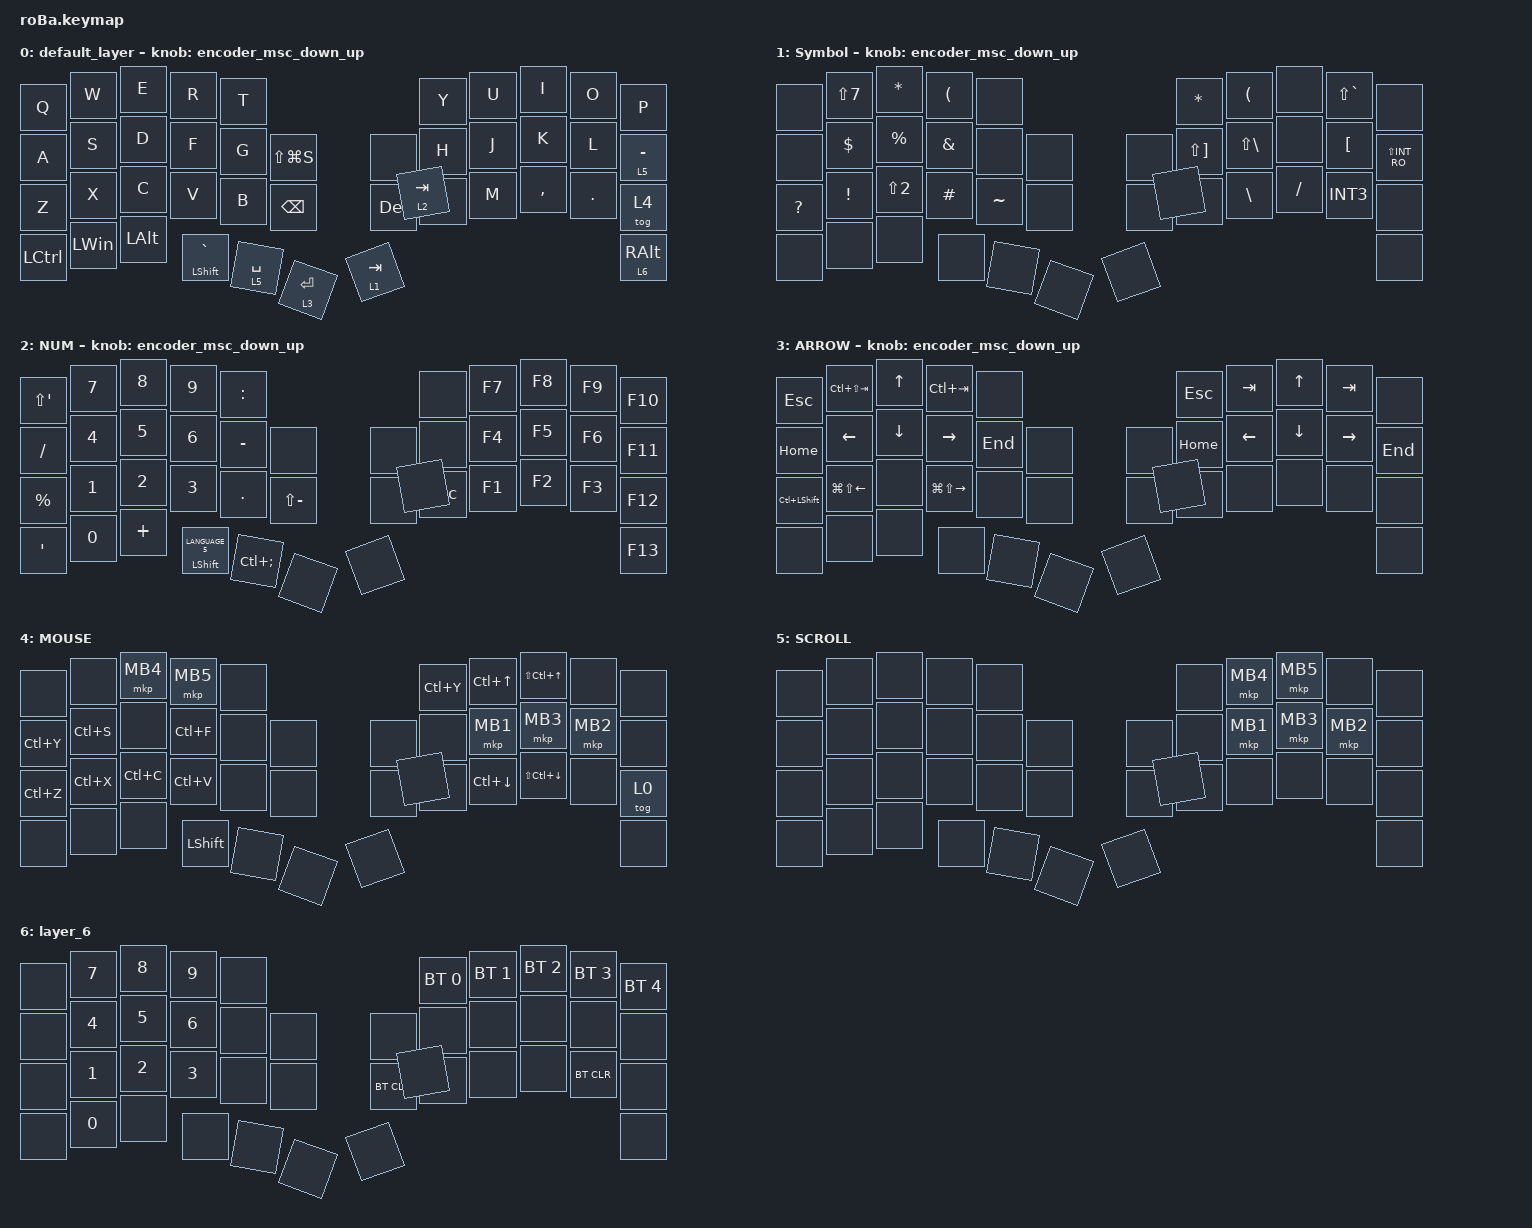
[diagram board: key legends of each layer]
#include <input/processors.dtsi>
#include <behaviors.dtsi>
#include <dt-bindings/zmk/bt.h>
#include <dt-bindings/zmk/keys.h>
#include <dt-bindings/zmk/pointing.h>

#define ZMK_POINTING_DEFAULT_SCRL_VAL 80

&mkp_input_listener { input-processors = <&zip_temp_layer 4 1000>; };

&mt {
    flavor = "balanced";
    quick-tap-ms = <0>;
};

&trackball {
    automouse-layer = <4>;
    scroll-layers = <5>;

    // arrows {
    //     layers = <3>;
    //     bindings =
    //         <&kp RIGHT_ARROW>,
    //         <&kp LEFT_ARROW>,
    //         <&kp UP_ARROW>,
    //         <&kp DOWN_ARROW>;
    //     tick = <10>;
    //     wait-ms = <5>;
    //     tap-ms = <5>;
    // };
};

/ {
    combos {
        compatible = "zmk,combos";

        tab {
            bindings = <&kp TAB>;
            key-positions = <11 12>;
        };

        shift_tab {
            bindings = <&kp LS(TAB)>;
            key-positions = <12 13>;
        };

        muhennkann {
            bindings = <&to_layer_0 INT_MUHENKAN>;
            key-positions = <11 10>;
        };

        double_quotation {
            bindings = <&kp DOUBLE_QUOTES>;
            key-positions = <20 21>;
        };

        eq {
            bindings = <&kp EQUAL>;
            key-positions = <24 25>;
        };
    };

    macros {
        to_layer_0: to_layer_0 {
            compatible = "zmk,behavior-macro-one-param";
            #binding-cells = <1>;
            bindings = <&to 0 &macro_param_1to1 &kp MACRO_PLACEHOLDER>;
            label = "TO_LAYER_0";
        };
    };

    behaviors {
        lt_to_layer_0: lt_to_layer_0 {
            compatible = "zmk,behavior-hold-tap";
            label = "LAYER_TAP_TO_0";
            bindings = <&mo>, <&to_layer_0>;

            #binding-cells = <2>;
            tapping-term-ms = <200>;
        };

        encoder_msc_down_up: encoder_msc_down_up {
            compatible = "zmk,behavior-sensor-rotate";
            label = "ENCODER_MSC_DOWN_UP";
            #sensor-binding-cells = <0>;
            bindings = <&msc SCRL_DOWN>, <&msc SCRL_UP>;

            tap-ms = <20>;
        };
    };

    keymap {
        compatible = "zmk,keymap";

        default_layer {
            bindings = <
&kp Q      &kp W         &kp E         &kp R                 &kp T                                       &kp Y      &kp U  &kp I      &kp O    &kp P
&kp A      &kp S         &kp D         &kp F                 &kp G        &kp LS(LG(S))      &none       &kp H      &kp J  &kp K      &kp L    &lt 5 MINUS
&kp Z      &kp X         &kp C         &kp V                 &kp B        &kp BACKSPACE      &kp DELETE  &kp N      &kp M  &kp COMMA  &kp DOT  &tog 4
&kp LCTRL  &kp LEFT_WIN  &kp LEFT_ALT  &mt LEFT_SHIFT GRAVE  &lt 5 SPACE  &lt 3 ENTER        &lt 1 TAB   &lt 2 TAB                             &lt 6 RIGHT_ALT
            >;

            sensor-bindings = <&encoder_msc_down_up>;
            sensor-bindings = <&encoder_msc_down_up>;
        };

        Symbol {
            bindings = <
&none         &kp LS(N7)       &kp ASTERISK      &kp LEFT_PARENTHESIS  &none                        &kp ASTERISK           &kp LEFT_PARENTHESIS  &none      &kp LS(GRAVE)     &none
&none         &kp DOLLAR       &kp PERCENT       &kp AMPS              &none      &none      &none  &kp LS(RIGHT_BRACKET)  &kp LS(BACKSLASH)     &none      &kp LEFT_BRACKET  &kp LS(INT_RO)
&kp QUESTION  &kp EXCLAMATION  &kp LS(NUMBER_2)  &kp HASH              &kp TILDE  &none      &none  &kp RIGHT_BRACKET      &kp BACKSLASH         &kp SLASH  &kp INT3          &none
&none         &none            &none             &none                 &none      &none      &none  &none                                                                     &none
            >;

            sensor-bindings = <&encoder_msc_down_up>;
            sensor-bindings = <&encoder_msc_down_up>;
        };

        NUM {
            bindings = <
&kp LS(APOSTROPHE)  &kp N7        &kp N8        &kp N9                     &kp COLON                                    &none       &kp F7  &kp F8  &kp F9  &kp F10
&kp SLASH           &kp NUMBER_4  &kp N5        &kp NUMBER_6               &kp MINUS          &none              &none  &none       &kp F4  &kp F5  &kp F6  &kp F11
&kp PERCENT         &kp NUMBER_1  &kp NUMBER_2  &kp NUMBER_3               &kp PERIOD         &kp LS(MINUS)      &none  &kp ESCAPE  &kp F1  &kp F2  &kp F3  &kp F12
&kp APOSTROPHE      &kp N0        &kp PLUS      &mt LEFT_SHIFT LANGUAGE_5  &kp LC(SEMICOLON)  &none              &none  &none                               &kp F13
            >;

            sensor-bindings = <&encoder_msc_down_up>;
            sensor-bindings = <&encoder_msc_down_up>;
        };

        ARROW {
            bindings = <
&kp ESCAPE          &kp LC(LS(TAB))         &kp UP_ARROW    &kp LC(TAB)              &none                      &kp ESCAPE  &kp TAB         &kp UP_ARROW    &kp TAB          &none
&kp HOME            &kp LEFT_ARROW          &kp DOWN_ARROW  &kp RIGHT_ARROW          &kp END  &none      &none  &kp HOME    &kp LEFT_ARROW  &kp DOWN_ARROW  &kp RIGHT_ARROW  &kp END
&kp LC(LEFT_SHIFT)  &kp LG(LS(LEFT_ARROW))  &none           &kp LG(LS(RIGHT_ARROW))  &none    &none      &none  &none       &none           &none           &none            &none
&none               &none                   &none           &none                    &none    &none      &none  &none                                                        &none
            >;

            sensor-bindings = <&encoder_msc_down_up>;
            sensor-bindings = <&encoder_msc_down_up>;
        };

        MOUSE {
            bindings = <
&none      &none      &mkp MB4   &mkp MB5        &none                    &kp LC(Y)  &kp LC(UP_ARROW)  &kp LS(LC(UP_ARROW))  &none     &none
&kp LC(Y)  &kp LC(S)  &none      &kp LC(F)       &none  &none      &none  &none      &mkp MB1          &mkp MB3              &mkp MB2  &none
&kp LC(Z)  &kp LC(X)  &kp LC(C)  &kp LC(V)       &none  &none      &none  &none      &kp LC(DOWN)      &kp LS(LC(DOWN))      &none     &tog 0
&none      &none      &none      &kp LEFT_SHIFT  &none  &none      &none  &none                                                        &none
            >;
        };

        SCROLL {
            bindings = <
&none  &none  &none  &none  &none                    &none  &mkp MB4  &mkp MB5  &none     &none
&none  &none  &none  &none  &none  &none      &none  &none  &mkp MB1  &mkp MB3  &mkp MB2  &none
&none  &none  &none  &none  &none  &none      &none  &none  &none     &none     &none     &none
&none  &none  &none  &none  &none  &none      &none  &none                                &none
            >;
        };

        layer_6 {
            bindings = <
&none  &kp N7        &kp N8        &kp N9        &none                         &bt BT_SEL 0  &bt BT_SEL 1  &bt BT_SEL 2  &bt BT_SEL 3  &bt BT_SEL 4
&none  &kp NUMBER_4  &kp N5        &kp NUMBER_6  &none  &none      &none       &none         &none         &none         &none         &none
&none  &kp NUMBER_1  &kp NUMBER_2  &kp NUMBER_3  &none  &none      &bt BT_CLR  &none         &none         &none         &bt BT_CLR    &none
&none  &kp N0        &none         &none         &none  &none      &none       &none                                                   &none
            >;
        };
    };
};
